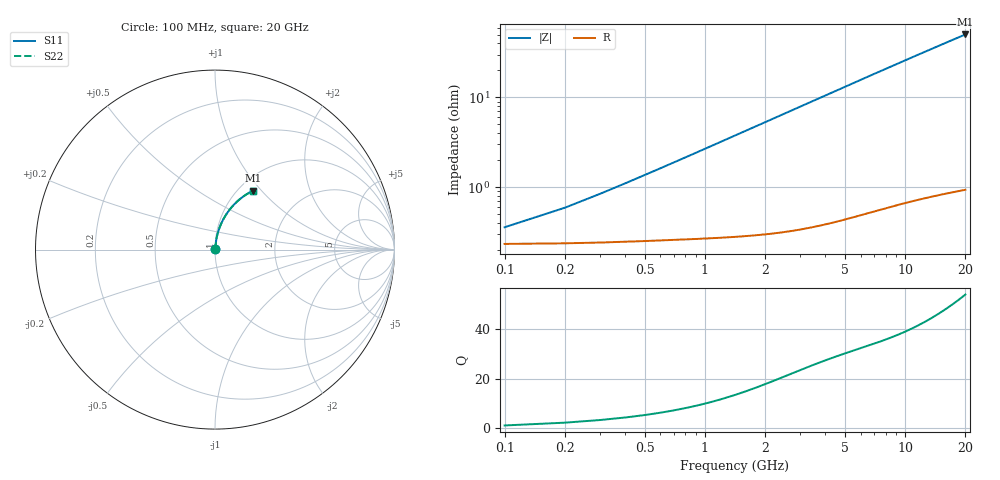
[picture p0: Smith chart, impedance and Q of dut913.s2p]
! Touchstone file exported from HFSS 2026.1.0
!  File:  C:/ffzhzh/LocalFiles/Ansys_Project_Files/temp_train_TMRDL_913_1783158044_18472.aedt
!  Generated:  05:41:59 PM Jul  4, 2026
!  Design:  TMRDL
!  Project:  temp_train_TMRDL_913_1783158044_18472
! Variables:
!  h_bsmrdl = 2um
!  h_ox = 20um
!  h_rdl = 5um
!  h_sub = 80um
!  h_tmrdl = 4.57um
!  h_tsv = 80um
!  h_via = 3um
!  l_bsmrdl = 300um
!  l_sub = 760.71um
!  l_tmrdl = 360.71um
!  m_sub = 200um
!  pitch = 58.1um
!  r_tsv = 6um
!  s_tmrdl = 10um
!  w_bsmrdl = 18um
!  w_sub = 500um
!  w_tmrdl = 12.46um
!  x_tsv_center1 = 366.94um
!  x_tsv_center2 = 684.94um
!  x_tsv_center3 = 1058.11um
!  x_tsv_center4 = 1376.11um
!  x_tsv_center5 = 1749.28um
!  x_tsv_center6 = 2067.28um
# GHz S MA R 50.000000
! Terminal data exported
! Port[1] = TM_RDL1_1_T1
! Port[2] = TM_RDL1_1_T2
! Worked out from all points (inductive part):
!   200 points, 100 MHz to 20 GHz, reference 50 ohm
!   read as one part in series: L = 428 pH near 300 MHz
!   highest Q = 53.8 at 20 GHz (marker M1), where L = 400 pH
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0.1  0.003301 44.9  0.9977 -0.2  0.9977 -0.2  0.003301 44.9
! Gamma 0 0 0 0
! Port Impedance 50 0 50 0
0.2  0.005229 62.8  0.9976 -0.4  0.9976 -0.4  0.005229 62.8
0.3  0.007376 70.4  0.9976 -0.5  0.9976 -0.5  0.007376 70.4
0.4  0.009581 74.4  0.9975 -0.7  0.9975 -0.7  0.009581 74.4
0.5  0.01181 76.9  0.9974 -0.9  0.9974 -0.9  0.01181 76.9
0.7  0.01627 79.6  0.9973 -1.2  0.9973 -1.2  0.01627 79.6
0.8  0.01852 80.5  0.9972 -1.4  0.9972 -1.4  0.01852 80.5
1  0.023 81.6  0.9971 -1.7  0.9971 -1.7  0.023 81.6
1.2  0.0275 82.2  0.9969 -2.1  0.9969 -2.1  0.0275 82.2
1.4  0.03199 82.6  0.9967 -2.4  0.9967 -2.4  0.03199 82.6
1.7  0.03873 82.8  0.9964 -2.9  0.9964 -2.9  0.03873 82.8
2  0.04547 82.8  0.996 -3.5  0.996 -3.5  0.04547 82.8
2.7  0.06113 82.3  0.9949 -4.7  0.9949 -4.7  0.06113 82.3
3.5  0.07888 81.4  0.9933 -6.0  0.9933 -6.0  0.07888 81.4
4.2  0.09427 80.4  0.9916 -7.2  0.9916 -7.2  0.09427 80.4
5  0.1117 79.2  0.9894 -8.5  0.9894 -8.5  0.1117 79.2
6.8  0.15 76.5  0.9835 -11.5  0.9835 -11.5  0.15 76.5
8.3  0.1811 74.2  0.9776 -14.0  0.9776 -14.0  0.1811 74.2
10.1  0.2174 71.4  0.9696 -16.9  0.9696 -16.9  0.2174 71.4
13.4  0.2805 66.5  0.9524 -22.0  0.9524 -22.0  0.2805 66.5
16.7  0.3389 61.6  0.9327 -27.0  0.9327 -27.0  0.3389 61.6
20  0.3924 57.0  0.9113 -31.7  0.9113 -31.7  0.3924 57.0
